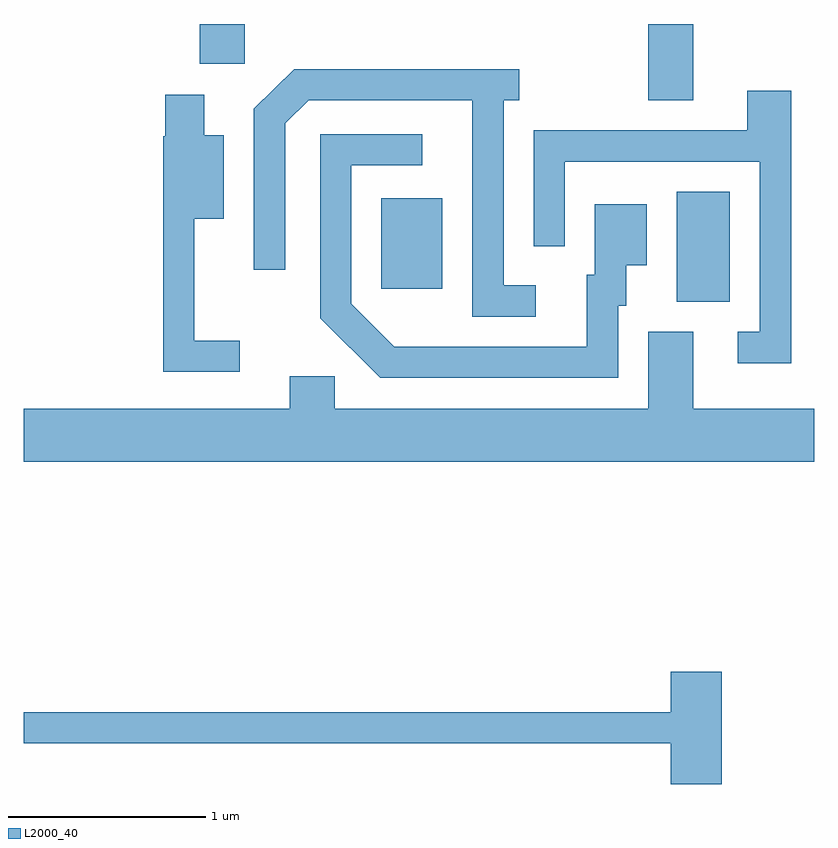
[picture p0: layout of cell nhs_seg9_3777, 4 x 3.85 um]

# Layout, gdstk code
import gdstk
lib = gdstk.Library(unit=1e-6, precision=1e-09)
def R(c, l, rs):  # rectangles x0, y0, x1, y1
    for r in rs: c.add(gdstk.rectangle(r[:2], r[2:], *l))
def P(c, l, *ps):  # polygons
    for p in ps: c.add(gdstk.Polygon(p, *l))
L2000_40 = (2000, 40)

nhs_seg9_3777 = lib.new_cell('nhs_seg9_3777')
R(nhs_seg9_3777, L2000_40, [(298.916,2037.026,299.184,2037.584), (297.421,2037.091,297.729,2037.549), (298.771,2038.046,298.999,2038.432), (296.501,2038.231,296.729,2038.432)])
P(nhs_seg9_3777, L2000_40, [(298.203,2037.109),(298.039,2037.109),(298.039,2038.046),(298.118,2038.046),(298.118,2038.204),(296.979,2038.204),(296.776,2038.002),(296.776,2037.188),(296.934,2037.188),(296.934,2037.929),(297.052,2038.046),(297.881,2038.046),(297.881,2036.951),(298.203,2036.951)],
  [(299.494,2038.094),(299.271,2038.094),(299.271,2037.894),(298.191,2037.894),(298.191,2037.308),(298.349,2037.308),(298.349,2037.736),(299.336,2037.736),(299.336,2036.874),(299.223,2036.874),(299.223,2036.716),(299.494,2036.716)],
  [(296.703,2036.829),(296.474,2036.829),(296.474,2037.446),(296.624,2037.446),(296.624,2037.869),(296.524,2037.869),(296.524,2038.074),(296.326,2038.074),(296.326,2037.865),(296.316,2037.865),(296.316,2036.671),(296.703,2036.671)],
  [(298.619,2037.006),(298.659,2037.006),(298.659,2037.211),(298.764,2037.211),(298.764,2037.519),(298.501,2037.519),(298.501,2037.164),(298.461,2037.164),(298.461,2036.799),(297.487,2036.799),(297.269,2037.017),(297.269,2037.716),(297.628,2037.716),(297.628,2037.874),(297.111,2037.874),(297.111,2036.944),(297.414,2036.641),(298.619,2036.641)],
  [(299.611,2036.484),(298.999,2036.484),(298.999,2036.874),(298.771,2036.874),(298.771,2036.484),(297.184,2036.484),(297.184,2036.649),(296.956,2036.649),(296.956,2036.484),(295.611,2036.484),(295.611,2036.216),(299.611,2036.216)],
  [(299.144,2035.154),(298.886,2035.154),(298.886,2034.949),(295.611,2034.949),(295.611,2034.791),(298.886,2034.791),(298.886,2034.586),(299.144,2034.586)])

lib.write_gds('nhs_seg9_3777.gds')
